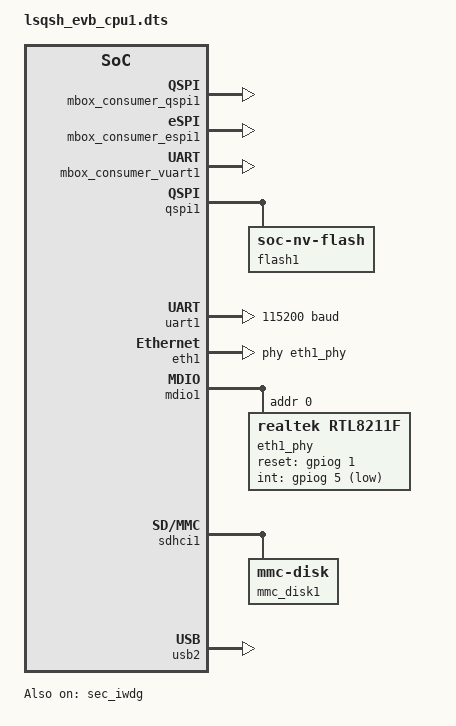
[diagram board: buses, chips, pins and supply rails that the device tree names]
/*
 * Copyright (c) 2025 linkedsemi
 * SPDX-License-Identifier: Apache-2.0
 */

/dts-v1/;
#include <riscv/linkedsemi/lsqsh.dtsi>
#include <arch/riscv/csr.h>
#include <zephyr/dt-bindings/pwm/pwm.h>
#include "lsqsh_evb_pinctrl.dtsi"
#include <zephyr/dt-bindings/adc/ls-adc.h>
#define BTN_GPIO_FLAGS (GPIO_ACTIVE_HIGH | GPIO_PULL_UP)

#define SRAM_TOTAL_SIZE DT_SIZE_K(512)
#define SRAM_RO_SIZE    DT_SIZE_K(256)
#define SRAM_RW_SIZE    (SRAM_TOTAL_SIZE - SRAM_RO_SIZE)

&chosen {
    zephyr,flash = &sram_ro;
    zephyr,flash-controller = &qspi1;
    zephyr,sram = &sram;
    zephyr,console = &uart1;
    zephyr,shell-uart = &uart1;
};

&aliases {
    sdhc0 = &sdhci1;
    watchdog0 = &sec_iwdg;
    // peci-0 = &peci1;
    // sw0 = &btn1;
    // led0 = &led1;
    // pwm-led0 = &pwm_led0;
};

&soc {
    /delete-node/ memory@10000000;
    sram_ro: memory@100c0000 {
        compatible = "mmio-sram";
        reg = <0x100c0000 SRAM_RO_SIZE>;
    };

    sram: memory@10100000 {
        compatible = "mmio-sram";
        reg = <(0x100c0000 + SRAM_RO_SIZE) SRAM_RW_SIZE>;
    };

    driver_share_memory: memory@100be000 {
        compatible = "zephyr,memory-region", "mmio-sram";
        reg = <0x100be000 0xffc>;
        zephyr,memory-region = "SHMEM";
    };

    driver_reset_reason: memory@100beffc {
        compatible = "zephyr,memory-region", "mmio-sram";
        reg = <0x100beffc 0x4>;
        zephyr,memory-region = "RESET_REASON";
    };

    mbox_memory: memory@100bf000 {
        compatible = "zephyr,memory-region", "mmio-sram";
        reg = <0x100bf000 DT_SIZE_K(4)>;
        zephyr,memory-region = "MBOX";
    };

    mbox: mbox {
        compatible = "linkedsemi,mbox";
        interrupts = <SYSC_SEC_CPU_IRQN 3>;
        #mbox-cells = <3>;

        mbox_consumer_qspi1: mbox-consumer_qspi1 {
            compatible = "vnd,mbox-consumer";
            mboxes = <&mbox 0 24 1>, <&mbox 0 24 1>;
            mbox-names = "tx", "rx";
        };
        mbox_consumer_otbn_crypto: mbox-consumer_otbn_crypto {
            compatible = "vnd,mbox-consumer";
            mboxes = <&mbox 1 32 1>, <&mbox 1 32 1>;
            mbox-names = "tx", "rx";
        };
        mbox_consumer_espi1: mbox-consumer_espi1 {
            compatible = "vnd,mbox-consumer";
            mboxes = <&mbox 2 8 1>, <&mbox 2 8 1>;
            mbox-names = "tx", "rx";
        };
        mbox_consumer_vuart1: mbox-consumer_vuart1 {
            compatible = "vnd,mbox-consumer";
            mboxes = <&mbox 3 8 1>, <&mbox 3 8 1>;
            mbox-names = "tx", "rx";
        };
    };

    qspi1: qspi@40000000 {
        compatible = "linkedsemi,ls-flash-controller";
        reg = <0x40000000 0x400>;
        #address-cells = <1>;
        #size-cells = <1>;
        interrupts = <3 3>;
        quad_mode;
        mbox = <&mbox_consumer_qspi1>;

        flash1: flash@8000000 {
            compatible = "soc-nv-flash";
            reg = <0x8000000 DT_SIZE_M(32)>;
            erase-block-size = <4096>;
            write-block-size = <4>;
        };
    };
};

&cpu1 {
    status = "okay";
};

&cpu2 {
    status = "disabled";
};

&gpioa {
    status = "okay";
};

&gpiob {
    status = "okay";
};

&gpioc {
    status = "okay";
};

&gpiod {
    status = "okay";
};

&gpioe {
    status = "okay";
};

&gpiof {
    status = "okay";
};

&gpiog {
    status = "okay";
};

&gpioh {
    status = "okay";
};

&gpioi {
    status = "okay";
};

&gpioj {
    status = "okay";
};

&gpiok {
    status = "okay";
};

&gpiom {
    status = "okay";
};

&gpion {
    status = "okay";
};

&gpioq {
    status = "okay";
};

&gpiot {
    status = "okay";
};

&uart1 {
    current-speed = <115200>;
    status = "okay";
};

&uart3 {
    current-speed = <115200>;
    status = "disabled";
};

&uart4 {
    current-speed = <115200>;
    status = "disabled";
};

&sec_iwdg {
    status = "okay";
};

&pmu_iwdg {
    status = "okay";
};

// &pwm{
//     status = "okay";
//     prescaler = <3>;
//     pinctrl-0 = <&pwm1_pa04 &pwm7_pg02 &fan_pwm10_ph05>;
//     pinctrl-names = "default";
// };

// &sgpiom {
//     ngpios = <128>;
//     status = "okay";
// };

// &sgpiom_a_d {
//     status = "okay";
// };

// &sgpiom_e_h {
//     status = "okay";
// };

// &sgpiom_i_l {
//     status = "okay";
// };

// &sgpiom_m_p {
//     status = "okay";
// };

// &sgpiom2 {
//     ngpios = <128>;
//     status = "okay";
// };

// &sgpiom2_a_d {
//     status = "okay";
// };

// &sgpiom2_e_h {
//     status = "okay";
// };

// &sgpiom2_i_l {
//     status = "okay";
// };

// &sgpiom2_m_p {
//     status = "okay";
// };

&eth1 {
    phy-handle = <&eth1_phy>;
    status = "okay";
};

&mdio1 {
    status = "okay";
    eth1_phy: ethernet-phy@0 {
        compatible = "realtek,rtl8211f";
        reg = <0>;
        reset-gpios = <&gpiog 1 GPIO_ACTIVE_HIGH>;
        int-gpios = <&gpiog 5 GPIO_ACTIVE_LOW>;
        status = "okay";
    };
};

// &peci1 {
//     status = "okay";
// };

&sdhci1 {
    status = "okay";

    mmc_disk1: disk {
        compatible = "zephyr,mmc-disk";
        /* samples/subsys/fs/fs_sample/ assert disk-name to SD2 */
        disk-name = "SD2";
        bus-width = <8>;
        status = "okay";
    };
};

// tst_dma0: &dma0 {
//     status = "okay";
// };

// &lpc1 {
//     status = "disabled";

//     lpc_kcs_ca2: lpc_kcs_ca2 {
//         compatible = "linkedsemi,ls-kcs";
//         port = <0xca2 0xca3>;
//         status = "disabled";
//     };
// };

// &espi1 {
//     espi1_kcs_ca2: espi1_kcs_ca2 {
//         compatible = "linkedsemi,ls-kcs";
//         port = <0xca2 0xca3>;
//         status = "okay";
//     };
// };

// &ipmi_kcs {
//     kcs_chan = <&espi1_kcs_ca2>;
//     status = "okay";
// };

zephyr_udc0: &usb2 {
    status = "okay";
};

// zephyr_udc1: &usb1 {
//     status = "okay";
// };

// &i2c5 {
//     status = "okay";
//     eeprom_5_1: eeprom@50 {
//         compatible = "atmel,at24";
//         reg = <0x50>;
//         size = <4096>;
//         pagesize = <32>;
//         address-width = <16>;
//         timeout = <5>;
//     };
// };

// &i2c6 {
//     eeprom_6_1: eeprom@50 {
//         compatible = "atmel,at24";
//         reg = <0x50>;
//         size = <4096>;
//         pagesize = <32>;
//         address-width = <16>;
//         timeout = <5>;
//     };
// };

// &i2c7 {
//     status = "okay";
//     eeprom_7_1: eeprom@50 {
//         compatible = "atmel,at24";
//         reg = <0x50>;
//         size = <4096>;
//         pagesize = <32>;
//         address-width = <16>;
//         timeout = <5>;
//     };
// };

// &i2c8 {
//     status = "okay";
//     eeprom_8_1: eeprom@50 {
//         compatible = "atmel,at24";
//         reg = <0x50>;
//         size = <4096>;
//         pagesize = <32>;
//         address-width = <16>;
//         timeout = <5>;
//     };
// };

// &i2c9 {
//     status = "okay";
//     eeprom_9_1: eeprom@50 {
//         compatible = "atmel,at24";
//         reg = <0x50>;
//         size = <4096>;
//         pagesize = <32>;
//         address-width = <16>;
//         timeout = <5>;
//     };
// };

// &i2c10 {
//     status = "okay";
//     eeprom_10_1: eeprom@50 {
//         compatible = "atmel,at24";
//         reg = <0x50>;
//         size = <4096>;
//         pagesize = <32>;
//         address-width = <16>;
//         timeout = <5>;
//     };
// };

// &i2c11 {
//     status = "okay";
//     eeprom_11_1: eeprom@50 {
//         compatible = "atmel,at24";
//         reg = <0x50>;
//         size = <4096>;
//         pagesize = <32>;
//         address-width = <16>;
//         timeout = <5>;
//     };
// };

// &i2c14 {
//     status = "okay";
//     eeprom_14_1: eeprom@50 {
//         compatible = "atmel,at24";
//         reg = <0x50>;
//         size = <4096>;
//         pagesize = <32>;
//         address-width = <16>;
//         timeout = <5>;
//     };
// };

// #if 0
//&spi1 {
//   status = "okay";
//     flash1_1: flash@0 {
//         compatible = "jedec,spi-nor";
//         reg = <0>;
//         spi-max-frequency = <DT_FREQ_M(50)>;
//     };
//};

// &spi2 {
//   status = "okay";
//     flash2_1: flash@0 {
//         compatible = "jedec,spi-nor";
//         reg = <0>;
//         spi-max-frequency = <DT_FREQ_M(50)>;
//     };
// };
// #endif

// &spi3 {
//     status = "okay";
//     flash3_1: flash@0 {
//         compatible = "jedec,spi-nor";
//         reg = <0>;
//         spi-max-frequency = <DT_FREQ_M(50)>;
//     };
// };

// &spi4 {
//     status = "okay";
//     flash4_1: flash@0 {
//         compatible = "jedec,spi-nor";
//         reg = <0>;
//         spi-max-frequency = <DT_FREQ_M(50)>;
//     };
// };

// &adc1 {
//     status = "okay";
//     #address-cells = <1>;
//     #size-cells = <0>;
//     pinctrl-0 = <&adc1_ain1_pc04>;
//     pinctrl-names = "default";
//     conversion_mode = <regular_mode>;
//     data_align = <ADC_DATAALIGN_RIGHT>;
//     continuous_conv_mode = <discontinuous>;
//     nbr_of_conversion = <1>;
//     discontinuous_conv_mode = <discontinuous>;
//     nbr_of_disc_conversion = <0>;
//     trig_type = <ADC_SOFTWARE_TRIGT>;
//     adc_drive_type = <BINBUF_DIRECT_DRIVE_ADC>;
//     adc_clk_div = <74>;
//     clk_cfg = <ADC_CH_CLOCK_DIV1>;
//     injected_offset = <0>;
//     fif_ctrl1 = <0xFFFF>;
// };

// / {
//     model = "linkedsemi lsqsh_evb";
//     compatible = "linkedsemi,lsqsh_evb";
//
//     leds: leds {
//         compatible = "gpio-leds";
//         led1: led1 {
//             gpios = <&gpioh 8 GPIO_ACTIVE_HIGH>;
//             label = "LED1";
//         };
//         led2: led2 {
//             gpios = <&gpioh 7 GPIO_ACTIVE_HIGH>;
//             label = "LED2";
//         };
//         led3: led3 {
//             gpios = <&gpioh 0 GPIO_ACTIVE_HIGH>;
//             label = "LED3";
//         };
//     };
//
//     keys: keys {
//         compatible = "gpio-keys";
//         btn1: btn1 {
//             gpios = <&gpiog 4 BTN_GPIO_FLAGS>;
//             label = "Push button 1";
//         };
//         btn2: btn2 {
//             gpios = <&gpioh 1 BTN_GPIO_FLAGS>;
//             label = "Push button 2";
//         };
//         btn3: btn3 {
//             gpios = <&gpioh 4 BTN_GPIO_FLAGS>;
//             label = "Push button 3";
//         };
//     };
//
//     pwmleds {
//         compatible = "pwm-leds";
//         pwm_led0: pwm_led_0 {
//             pwms = <&pwm 10 PWM_USEC(1) 0>;
//         };
//     };
// };
